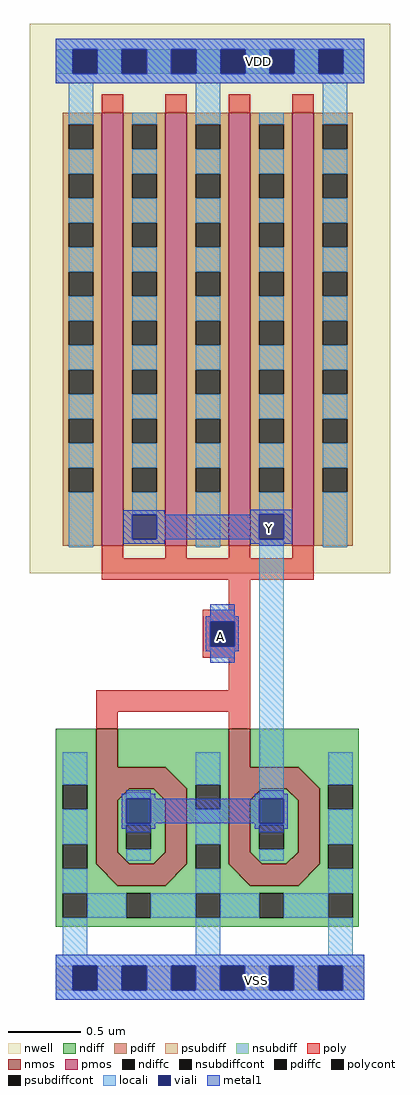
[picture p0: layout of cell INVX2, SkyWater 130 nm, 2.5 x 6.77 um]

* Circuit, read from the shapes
.subckt INVX2 A VDD VSS Y
XM1 VSS A Y VSS sky130_fd_pr__nfet_01v8 w=2.49 l=0.1463
XM2 VSS A Y VSS sky130_fd_pr__nfet_01v8 w=2.49 l=0.1506
XM3 Y A VDD VDD sky130_fd_pr__pfet_01v8 w=3 l=0.15 m=4
.ends

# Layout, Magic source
magic
tech sky130A
magscale 1 2
<< nwell >>
rect -36 591 464 1353
<< nmos >>
rect 56 322 86 375
rect 240 322 270 375
rect 56 292 152 322
tri 152 292 182 322 sw
rect 56 188 86 292
tri 86 276 102 292 nw
tri 136 276 152 292 ne
tri 86 188 102 204 sw
tri 136 188 152 204 se
rect 152 188 182 292
rect 240 292 336 322
tri 336 292 366 322 sw
tri 56 158 86 188 ne
rect 86 158 152 188
tri 152 158 182 188 nw
rect 240 188 270 292
tri 270 276 286 292 nw
tri 320 276 336 292 ne
tri 270 188 286 204 sw
tri 320 188 336 204 se
rect 336 188 366 292
tri 240 158 270 188 ne
rect 270 158 336 188
tri 336 158 366 188 nw
<< pmos >>
rect 64 629 94 1229
rect 152 629 182 1229
rect 240 629 270 1229
rect 328 629 358 1229
<< ndiff >>
rect 0 298 56 375
rect 86 322 240 375
rect 270 322 420 375
rect 0 264 10 298
rect 44 264 56 298
tri 152 292 182 322 ne
rect 182 298 240 322
rect 0 215 56 264
rect 0 181 10 215
rect 44 181 56 215
tri 86 276 102 292 se
rect 102 276 136 292
tri 136 276 152 292 sw
rect 86 242 152 276
rect 86 208 98 242
rect 132 208 152 242
rect 86 204 152 208
tri 86 188 102 204 ne
rect 102 188 136 204
tri 136 188 152 204 nw
rect 182 264 194 298
rect 228 264 240 298
tri 336 292 366 322 ne
rect 366 298 420 322
rect 182 215 240 264
rect 0 158 56 181
tri 56 158 86 188 sw
tri 152 158 182 188 se
rect 182 181 194 215
rect 228 181 240 215
tri 270 276 286 292 se
rect 286 276 320 292
tri 320 276 336 292 sw
rect 270 242 336 276
rect 270 208 282 242
rect 316 208 336 242
rect 270 204 336 208
tri 270 188 286 204 ne
rect 286 188 320 204
tri 320 188 336 204 nw
rect 366 264 378 298
rect 412 264 420 298
rect 366 215 420 264
rect 182 158 240 181
tri 240 158 270 188 sw
tri 336 158 366 188 se
rect 366 181 378 215
rect 412 181 420 215
rect 366 158 420 181
rect 0 147 420 158
rect 0 113 10 147
rect 44 113 98 147
rect 132 113 194 147
rect 228 113 282 147
rect 316 113 378 147
rect 412 113 420 147
rect 0 101 420 113
<< pdiff >>
rect 10 1213 64 1229
rect 10 1179 18 1213
rect 52 1179 64 1213
rect 10 1145 64 1179
rect 10 1111 18 1145
rect 52 1111 64 1145
rect 10 1077 64 1111
rect 10 1043 18 1077
rect 52 1043 64 1077
rect 10 1009 64 1043
rect 10 975 18 1009
rect 52 975 64 1009
rect 10 941 64 975
rect 10 907 18 941
rect 52 907 64 941
rect 10 873 64 907
rect 10 839 18 873
rect 52 839 64 873
rect 10 805 64 839
rect 10 771 18 805
rect 52 771 64 805
rect 10 737 64 771
rect 10 703 18 737
rect 52 703 64 737
rect 10 629 64 703
rect 94 1213 152 1229
rect 94 1179 106 1213
rect 140 1179 152 1213
rect 94 1145 152 1179
rect 94 1111 106 1145
rect 140 1111 152 1145
rect 94 1077 152 1111
rect 94 1043 106 1077
rect 140 1043 152 1077
rect 94 1009 152 1043
rect 94 975 106 1009
rect 140 975 152 1009
rect 94 941 152 975
rect 94 907 106 941
rect 140 907 152 941
rect 94 873 152 907
rect 94 839 106 873
rect 140 839 152 873
rect 94 805 152 839
rect 94 771 106 805
rect 140 771 152 805
rect 94 737 152 771
rect 94 703 106 737
rect 140 703 152 737
rect 94 629 152 703
rect 182 1213 240 1229
rect 182 1179 194 1213
rect 228 1179 240 1213
rect 182 1145 240 1179
rect 182 1111 194 1145
rect 228 1111 240 1145
rect 182 1077 240 1111
rect 182 1043 194 1077
rect 228 1043 240 1077
rect 182 1009 240 1043
rect 182 975 194 1009
rect 228 975 240 1009
rect 182 941 240 975
rect 182 907 194 941
rect 228 907 240 941
rect 182 873 240 907
rect 182 839 194 873
rect 228 839 240 873
rect 182 805 240 839
rect 182 771 194 805
rect 228 771 240 805
rect 182 737 240 771
rect 182 703 194 737
rect 228 703 240 737
rect 182 629 240 703
rect 270 1213 328 1229
rect 270 1179 282 1213
rect 316 1179 328 1213
rect 270 1145 328 1179
rect 270 1111 282 1145
rect 316 1111 328 1145
rect 270 1077 328 1111
rect 270 1043 282 1077
rect 316 1043 328 1077
rect 270 1009 328 1043
rect 270 975 282 1009
rect 316 975 328 1009
rect 270 941 328 975
rect 270 907 282 941
rect 316 907 328 941
rect 270 873 328 907
rect 270 839 282 873
rect 316 839 328 873
rect 270 805 328 839
rect 270 771 282 805
rect 316 771 328 805
rect 270 737 328 771
rect 270 703 282 737
rect 316 703 328 737
rect 270 629 328 703
rect 358 1213 412 1229
rect 358 1179 370 1213
rect 404 1179 412 1213
rect 358 1145 412 1179
rect 358 1111 370 1145
rect 404 1111 412 1145
rect 358 1077 412 1111
rect 358 1043 370 1077
rect 404 1043 412 1077
rect 358 1009 412 1043
rect 358 975 370 1009
rect 404 975 412 1009
rect 358 941 412 975
rect 358 907 370 941
rect 404 907 412 941
rect 358 873 412 907
rect 358 839 370 873
rect 404 839 412 873
rect 358 805 412 839
rect 358 771 370 805
rect 404 771 412 805
rect 358 737 412 771
rect 358 703 370 737
rect 404 703 412 737
rect 358 629 412 703
<< ndiffc >>
rect 10 264 44 298
rect 10 181 44 215
rect 98 208 132 242
rect 194 264 228 298
rect 194 181 228 215
rect 282 208 316 242
rect 378 264 412 298
rect 378 181 412 215
rect 10 113 44 147
rect 98 113 132 147
rect 194 113 228 147
rect 282 113 316 147
rect 378 113 412 147
<< pdiffc >>
rect 18 1179 52 1213
rect 18 1111 52 1145
rect 18 1043 52 1077
rect 18 975 52 1009
rect 18 907 52 941
rect 18 839 52 873
rect 18 771 52 805
rect 18 703 52 737
rect 106 1179 140 1213
rect 106 1111 140 1145
rect 106 1043 140 1077
rect 106 975 140 1009
rect 106 907 140 941
rect 106 839 140 873
rect 106 771 140 805
rect 106 703 140 737
rect 194 1179 228 1213
rect 194 1111 228 1145
rect 194 1043 228 1077
rect 194 975 228 1009
rect 194 907 228 941
rect 194 839 228 873
rect 194 771 228 805
rect 194 703 228 737
rect 282 1179 316 1213
rect 282 1111 316 1145
rect 282 1043 316 1077
rect 282 975 316 1009
rect 282 907 316 941
rect 282 839 316 873
rect 282 771 316 805
rect 282 703 316 737
rect 370 1179 404 1213
rect 370 1111 404 1145
rect 370 1043 404 1077
rect 370 975 404 1009
rect 370 907 404 941
rect 370 839 404 873
rect 370 771 404 805
rect 370 703 404 737
<< psubdiff >>
rect 0 13 24 47
rect 58 13 92 47
rect 126 13 160 47
rect 194 13 228 47
rect 262 13 296 47
rect 330 13 364 47
rect 398 13 428 47
<< nsubdiff >>
rect 0 1283 24 1317
rect 58 1283 92 1317
rect 126 1283 160 1317
rect 195 1283 229 1317
rect 263 1283 297 1317
rect 331 1283 365 1317
rect 399 1283 428 1317
<< psubdiffcont >>
rect 24 13 58 47
rect 92 13 126 47
rect 160 13 194 47
rect 228 13 262 47
rect 296 13 330 47
rect 364 13 398 47
<< nsubdiffcont >>
rect 24 1283 58 1317
rect 92 1283 126 1317
rect 160 1283 195 1317
rect 229 1283 263 1317
rect 297 1283 331 1317
rect 365 1283 399 1317
<< poly >>
rect 64 1229 94 1255
rect 152 1229 182 1255
rect 240 1229 270 1255
rect 328 1229 358 1255
rect 64 612 94 629
rect 152 612 182 629
rect 240 612 270 629
rect 328 612 358 629
rect 64 582 358 612
rect 240 540 270 582
rect 204 524 270 540
rect 204 490 214 524
rect 248 490 270 524
rect 204 474 270 490
rect 240 429 270 474
rect 56 399 270 429
rect 56 375 86 399
rect 240 375 270 399
<< polycont >>
rect 214 490 248 524
<< locali >>
rect 0 1317 428 1332
rect 0 1283 24 1317
rect 58 1283 92 1317
rect 126 1283 160 1317
rect 195 1283 229 1317
rect 263 1283 297 1317
rect 331 1283 365 1317
rect 399 1283 428 1317
rect 0 1270 428 1283
rect 18 1213 52 1270
rect 18 1145 52 1179
rect 18 1077 52 1111
rect 18 1009 52 1043
rect 18 941 52 975
rect 18 873 52 907
rect 18 805 52 839
rect 18 737 52 771
rect 18 627 52 703
rect 106 1213 140 1229
rect 106 1145 140 1179
rect 106 1077 140 1111
rect 106 1009 140 1043
rect 106 941 140 975
rect 106 873 140 907
rect 106 805 140 839
rect 106 737 140 771
rect 106 672 140 703
rect 194 1213 228 1270
rect 194 1145 228 1179
rect 194 1077 228 1111
rect 194 1009 228 1043
rect 194 941 228 975
rect 194 873 228 907
rect 194 805 228 839
rect 194 737 228 771
rect 194 627 228 703
rect 282 1213 316 1229
rect 282 1145 316 1179
rect 282 1077 316 1111
rect 282 1009 316 1043
rect 282 941 316 975
rect 282 873 316 907
rect 282 805 316 839
rect 282 737 316 771
rect 282 673 316 703
rect 214 524 248 540
rect 214 474 248 490
rect 10 298 44 343
rect 194 298 228 343
rect 10 215 44 264
rect 98 278 132 287
rect 98 242 132 244
rect 98 192 132 208
rect 194 215 228 264
rect 10 147 44 181
rect 282 278 316 638
rect 370 1213 404 1270
rect 370 1145 404 1179
rect 370 1077 404 1111
rect 370 1009 404 1043
rect 370 941 404 975
rect 370 873 404 907
rect 370 805 404 839
rect 370 737 404 771
rect 370 627 404 703
rect 282 242 316 244
rect 282 192 316 208
rect 378 298 412 343
rect 378 215 412 264
rect 194 147 228 181
rect 378 147 412 181
rect 44 113 98 147
rect 132 113 194 147
rect 228 113 282 147
rect 316 113 378 147
rect 10 62 44 113
rect 194 62 228 113
rect 378 62 412 113
rect 0 47 428 62
rect 0 13 24 47
rect 58 13 92 47
rect 126 13 160 47
rect 194 13 228 47
rect 262 13 296 47
rect 330 13 364 47
rect 398 13 428 47
rect 0 0 428 13
<< viali >>
rect 24 1283 58 1317
rect 92 1283 126 1317
rect 160 1283 195 1317
rect 229 1283 263 1317
rect 297 1283 331 1317
rect 365 1283 399 1317
rect 106 638 140 672
rect 282 638 316 673
rect 214 490 248 524
rect 98 244 132 278
rect 282 244 316 278
rect 24 13 58 47
rect 92 13 126 47
rect 160 13 194 47
rect 228 13 262 47
rect 296 13 330 47
rect 364 13 398 47
<< metal1 >>
rect 0 1317 428 1332
rect 0 1283 24 1317
rect 58 1283 92 1317
rect 126 1283 160 1317
rect 195 1283 229 1317
rect 263 1283 297 1317
rect 331 1283 365 1317
rect 399 1283 428 1317
rect 0 1270 428 1283
rect 94 672 151 678
rect 270 673 328 679
rect 270 672 282 673
rect 94 638 106 672
rect 140 638 282 672
rect 316 638 328 673
rect 94 632 151 638
rect 270 632 328 638
rect 282 629 316 632
rect 214 531 248 548
rect 208 524 254 531
rect 208 490 214 524
rect 248 490 254 524
rect 208 483 254 490
rect 214 467 248 483
rect 98 285 132 290
rect 282 285 316 290
rect 92 278 138 285
rect 276 278 322 285
rect 92 244 98 278
rect 132 244 282 278
rect 316 244 322 278
rect 92 237 138 244
rect 276 237 322 244
rect 98 232 132 237
rect 282 232 316 237
rect 0 47 428 62
rect 0 13 24 47
rect 58 13 92 47
rect 126 13 160 47
rect 194 13 228 47
rect 262 13 296 47
rect 330 13 364 47
rect 398 13 428 47
rect 0 0 428 13
<< labels >>
rlabel metal1 281 1301 281 1301 1 VDD
rlabel viali 229 503 229 503 1 A
rlabel viali 297 653 297 653 1 Y
rlabel metal1 278 26 278 26 1 VSS
<< end >>
